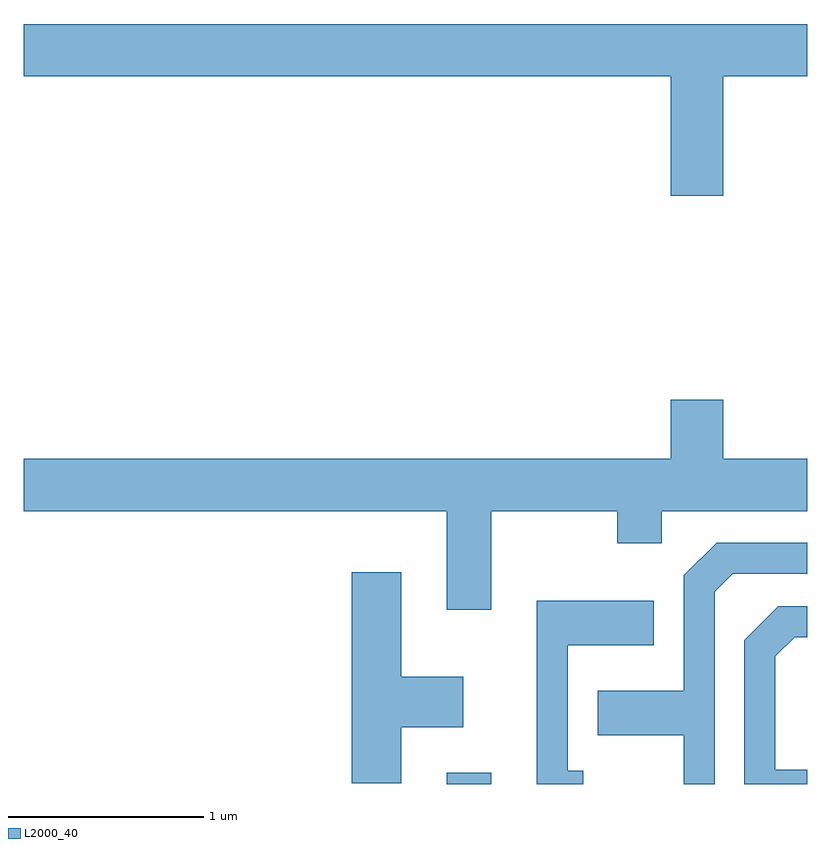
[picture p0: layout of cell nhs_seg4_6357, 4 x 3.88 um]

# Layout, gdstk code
import gdstk
lib = gdstk.Library(unit=1e-6, precision=1e-09)
def R(c, l, rs):  # rectangles x0, y0, x1, y1
    for r in rs: c.add(gdstk.rectangle(r[:2], r[2:], *l))
def P(c, l, *ps):  # polygons
    for p in ps: c.add(gdstk.Polygon(p, *l))
L2000_40 = (2000, 40)

nhs_seg4_6357 = lib.new_cell('nhs_seg4_6357')
R(nhs_seg4_6357, L2000_40, [(373.771,1319.982,373.999,1320.039)])
P(nhs_seg4_6357, L2000_40, [(371.611,1323.596),(374.916,1323.596),(374.916,1322.986),(375.184,1322.986),(375.184,1323.596),(375.611,1323.596),(375.611,1323.864),(371.611,1323.864)],
  [(373.999,1321.376),(374.641,1321.376),(374.641,1321.211),(374.869,1321.211),(374.869,1321.376),(375.611,1321.376),(375.611,1321.644),(375.184,1321.644),(375.184,1321.944),(374.916,1321.944),(374.916,1321.644),(371.611,1321.644),(371.611,1321.376),(373.771,1321.376),(373.771,1320.871),(373.999,1320.871)],
  [(375.139,1320.964),(375.232,1321.056),(375.611,1321.056),(375.611,1321.214),(375.149,1321.214),(374.981,1321.047),(374.981,1320.459),(374.541,1320.459),(374.541,1320.231),(374.981,1320.231),(374.981,1319.982),(375.139,1319.982)],
  [(373.539,1320.271),(373.854,1320.271),(373.854,1320.529),(373.539,1320.529),(373.539,1321.064),(373.286,1321.064),(373.286,1319.986),(373.539,1319.986)],
  [(374.468,1320.049),(374.389,1320.049),(374.389,1320.691),(374.829,1320.691),(374.829,1320.919),(374.231,1320.919),(374.231,1319.982),(374.468,1319.982)],
  [(375.611,1320.054),(375.449,1320.054),(375.449,1320.634),(375.547,1320.731),(375.611,1320.731),(375.611,1320.889),(375.464,1320.889),(375.291,1320.717),(375.291,1319.982),(375.611,1319.982)])

lib.write_gds('nhs_seg4_6357.gds')
